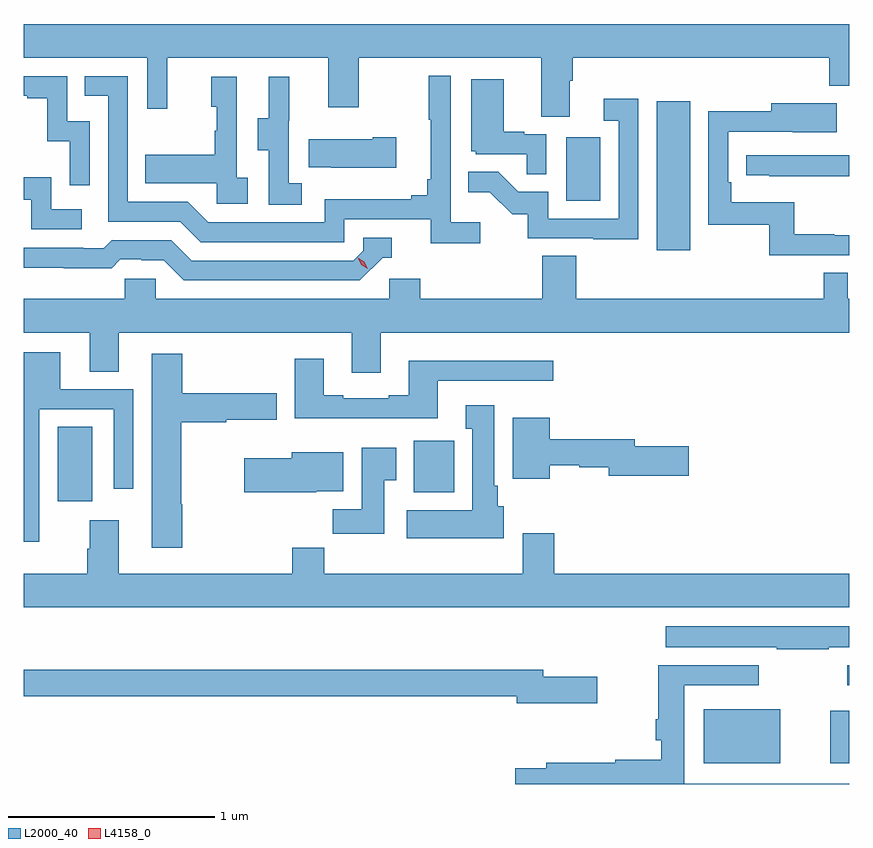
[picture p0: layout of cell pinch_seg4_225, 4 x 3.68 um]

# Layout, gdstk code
import gdstk
lib = gdstk.Library(unit=1e-6, precision=1e-09)
def R(c, l, rs):  # rectangles x0, y0, x1, y1
    for r in rs: c.add(gdstk.rectangle(r[:2], r[2:], *l))
def P(c, l, *ps):  # polygons
    for p in ps: c.add(gdstk.Polygon(p, *l))
L2000_40 = (2000, 40)
L4158_0 = (4158, 0)

pinch_seg4_225 = lib.new_cell('pinch_seg4_225')
R(pinch_seg4_225, L2000_40, [(997.196,816.044,997.567,816.307), (997.808,816.044,997.9,816.298), (997.89,816.423,997.9,816.519), (994.064,817.314,994.231,817.676), (995.789,817.358,995.985,817.609), (996.968,818.532,997.129,819.253), (996.53,818.772,996.694,819.079)])
P(pinch_seg4_225, L2000_40, [(996.547,819.352),(996.56,819.352),(996.56,819.464),(997.805,819.464),(997.805,819.329),(997.9,819.329),(997.9,819.628),(993.9,819.628),(993.9,819.464),(994.497,819.464),(994.497,819.216),(994.595,819.216),(994.595,819.464),(995.375,819.464),(995.375,819.225),(995.523,819.225),(995.523,819.464),(996.407,819.464),(996.407,819.178),(996.547,819.178)],
  [(996.112,818.668),(995.97,818.668),(995.97,819.376),(995.862,819.376),(995.862,819.163),(995.873,819.163),(995.873,818.875),(995.854,818.875),(995.854,818.798),(995.777,818.798),(995.777,818.779),(995.358,818.779),(995.358,818.667),(994.794,818.667),(994.695,818.766),(994.404,818.766),(994.404,819.375),(994.195,819.375),(994.195,819.279),(994.308,819.279),(994.308,818.67),(994.658,818.67),(994.757,818.571),(995.454,818.571),(995.454,818.682),(995.873,818.682),(995.873,818.566),(996.112,818.566)],
  [(994.218,819.156),(994.11,819.156),(994.11,819.375),(993.9,819.375),(993.9,819.279),(993.917,819.279),(993.917,819.267),(994.013,819.267),(994.013,819.059),(994.122,819.059),(994.122,818.847),(994.218,818.847)],
  [(995.248,818.855),(995.184,818.855),(995.184,819.159),(995.186,819.159),(995.186,819.373),(995.087,819.373),(995.087,819.171),(995.033,819.171),(995.033,819.016),(995.088,819.016),(995.088,818.752),(995.248,818.752)],
  [(994.984,818.882),(994.932,818.882),(994.932,819.373),(994.808,819.373),(994.808,819.228),(994.834,819.228),(994.834,819.11),(994.824,819.11),(994.824,818.995),(994.489,818.995),(994.489,818.855),(994.836,818.855),(994.836,818.757),(994.984,818.757)],
  [(996.432,819.093),(996.326,819.093),(996.326,819.106),(996.226,819.106),(996.226,819.361),(996.068,819.361),(996.068,819.012),(996.09,819.012),(996.09,818.997),(996.337,818.997),(996.337,818.899),(996.432,818.899)],
  [(996.879,819.265),(996.711,819.265),(996.711,819.159),(996.783,819.159),(996.783,818.685),(996.441,818.685),(996.441,818.814),(996.297,818.814),(996.199,818.912),(996.055,818.912),(996.055,818.813),(996.159,818.813),(996.266,818.706),(996.343,818.706),(996.343,818.589),(996.661,818.589),(996.661,818.584),(996.879,818.584)],
  [(997.9,818.604),(997.829,818.604),(997.829,818.609),(997.633,818.609),(997.633,818.764),(997.328,818.764),(997.328,818.86),(997.314,818.86),(997.314,819.105),(997.627,819.105),(997.627,819.104),(997.841,819.104),(997.841,819.244),(997.523,819.244),(997.523,819.206),(997.218,819.206),(997.218,818.655),(997.512,818.655),(997.512,818.508),(997.9,818.508)],
  [(995.704,819.078),(995.591,819.078),(995.591,819.07),(995.281,819.07),(995.281,818.933),(995.389,818.933),(995.389,818.93),(995.704,818.93)],
  [(997.9,818.991),(997.401,818.991),(997.401,818.895),(997.513,818.895),(997.513,818.89),(997.9,818.89)],
  [(994.18,818.73),(994.032,818.73),(994.032,818.884),(993.9,818.884),(993.9,818.775),(993.936,818.775),(993.936,818.634),(994.18,818.634)],
  [(995.64,818.496),(995.683,818.496),(995.683,818.592),(995.544,818.592),(995.544,818.529),(995.496,818.481),(994.713,818.481),(994.614,818.58),(994.325,818.58),(994.286,818.541),(994.187,818.541),(994.187,818.544),(993.9,818.544),(993.9,818.447),(994.092,818.447),(994.092,818.445),(994.325,818.445),(994.367,818.487),(994.47,818.487),(994.47,818.484),(994.577,818.484),(994.676,818.385),(995.529,818.385)],
  [(995.629,818.132),(997.9,818.132),(997.9,818.296),(997.893,818.296),(997.893,818.423),(997.777,818.423),(997.777,818.296),(996.578,818.296),(996.578,818.504),(996.413,818.504),(996.413,818.296),(995.822,818.296),(995.822,818.394),(995.67,818.394),(995.67,818.296),(994.539,818.296),(994.539,818.394),(994.389,818.394),(994.389,818.296),(993.9,818.296),(993.9,818.132),(994.22,818.132),(994.22,817.942),(994.36,817.942),(994.36,818.132),(995.489,818.132),(995.489,817.938),(995.629,817.938)],
  [(993.975,817.761),(994.335,817.761),(994.335,817.374),(994.431,817.374),(994.431,817.857),(994.075,817.857),(994.075,818.038),(993.9,818.038),(993.9,817.118),(993.975,817.118)],
  [(994.667,817.301),(994.662,817.301),(994.662,817.697),(994.881,817.697),(994.881,817.709),(995.125,817.709),(995.125,817.839),(994.667,817.839),(994.667,818.029),(994.52,818.029),(994.52,817.089),(994.667,817.089)],
  [(995.905,817.899),(996.466,817.899),(996.466,817.996),(995.765,817.996),(995.765,817.828),(995.669,817.828),(995.669,817.815),(995.449,817.815),(995.449,817.828),(995.353,817.828),(995.353,818.005),(995.213,818.005),(995.213,817.718),(995.905,817.718)],
  [(996.226,817.29),(996.196,817.29),(996.196,817.39),(996.181,817.39),(996.181,817.78),(996.041,817.78),(996.041,817.667),(996.074,817.667),(996.074,817.27),(995.757,817.27),(995.757,817.136),(996.226,817.136)],
  [(996.448,817.488),(996.591,817.488),(996.591,817.48),(996.734,817.48),(996.734,817.438),(997.123,817.438),(997.123,817.58),(996.862,817.58),(996.862,817.616),(996.448,817.616),(996.448,817.72),(996.269,817.72),(996.269,817.424),(996.448,817.424)],
  [(995.647,817.417),(995.704,817.417),(995.704,817.573),(995.537,817.573),(995.537,817.276),(995.398,817.276),(995.398,817.158),(995.647,817.158)],
  [(995.316,817.364),(995.449,817.364),(995.449,817.552),(995.198,817.552),(995.198,817.522),(994.968,817.522),(994.968,817.358),(995.316,817.358)],
  [(996.317,817.159),(996.317,816.964),(995.357,816.964),(995.357,817.088),(995.201,817.088),(995.201,816.964),(994.36,816.964),(994.36,817.222),(994.22,817.222),(994.22,817.085),(994.208,817.085),(994.208,816.964),(993.9,816.964),(993.9,816.8),(997.9,816.8),(997.9,816.964),(996.47,816.964),(996.47,817.159)],
  [(997.802,816.608),(997.9,816.608),(997.9,816.709),(997.011,816.709),(997.011,816.608),(997.549,816.608),(997.549,816.598),(997.802,816.598)],
  [(997.9,815.946),(997.101,815.946),(997.101,816.423),(997.462,816.423),(997.462,816.519),(996.974,816.519),(996.974,816.259),(996.962,816.259),(996.962,816.155),(996.989,816.155),(996.989,816.062),(996.766,816.062),(996.766,816.047),(996.431,816.047),(996.431,816.021),(996.282,816.021),(996.282,815.944),(997.9,815.944)],
  [(996.679,816.465),(996.418,816.465),(996.418,816.499),(993.9,816.499),(993.9,816.37),(996.29,816.37),(996.29,816.335),(996.679,816.335)])
P(pinch_seg4_225, L4158_0, [(995.566,818.442),(995.535,818.461),(995.519,818.494),(995.519,818.494),(995.519,818.494),(995.55,818.475),(995.566,818.442),(995.566,818.442)])

lib.write_gds('pinch_seg4_225.gds')
